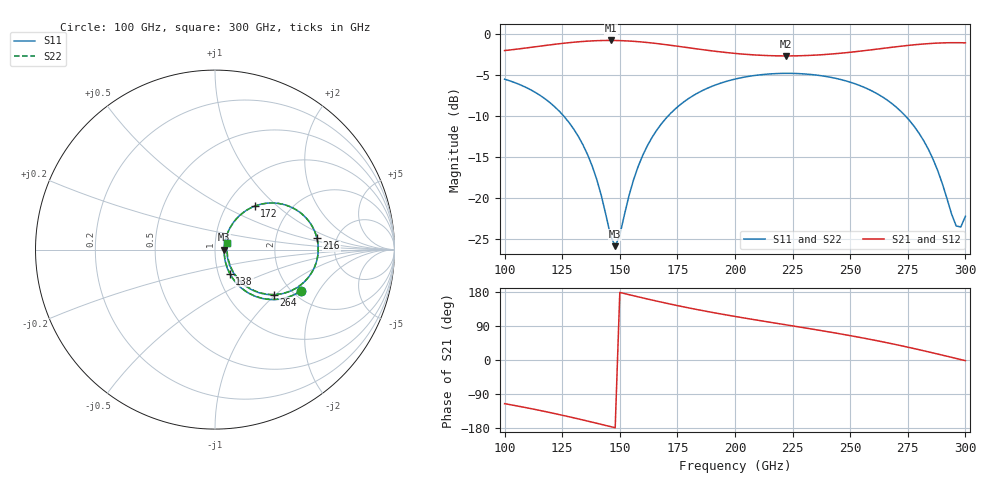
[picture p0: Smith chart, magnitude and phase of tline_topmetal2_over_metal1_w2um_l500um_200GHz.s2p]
#  GHZ S DB R 50
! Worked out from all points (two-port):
!   101 points, 100 GHz to 300 GHz, reference 50 ohm
!   highest |S21| = -0.79 dB at 146 GHz (marker M1); lowest = -2.7 dB at 222 GHz (marker M2)
!   |S21| within 3 dB of the highest: start of sweep to end of sweep
!   lowest |S11| = -25.9 dB at 148 GHz (marker M3), VSWR 1.11, Z = 55.3 - j0.0768 ohm
!   |S11| at or under -10 dB: 125.6 GHz to 171 GHz (45.43 GHz wide, 30.6 % of centre); 273.9 GHz to end of sweep
!   |S22| runs from -25.7 to -4.8 dB; largest |S21 - S12| = 1.5e-14
!   S11 on the Smith chart (normalised r, x): 100 GHz: 2.20, -1.41; 138 GHz: 1.13, -0.31; 172 GHz: 1.34, +0.73; 216 GHz: 3.53, +0.66; 264 GHz: 1.61, -0.98; 300 GHz: 1.14, +0.09
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100  -5.52 -25.8  -2.02 -115.2  -2.02 -115.2  -5.52 -25.7
120  -8.46 -46.1  -1.32 -139.1  -1.32 -139.1  -8.46 -45.9
134  -13.53 -58.0  -0.91 -158.3  -0.91 -158.3  -13.53 -57.7
138  -16.11 -58.5  -0.84 -164.0  -0.84 -164.0  -16.10 -58.1
146  -24.64 -28.9  -0.79 -175.8  -0.79 -175.8  -24.52 -28.2
148  -25.91 -0.8  -0.79 -178.8  -0.79 -178.8  -25.74 -0.6
158  -16.15 55.8  -0.93 166.6  -0.93 166.6  -16.13 55.5
168  -10.99 51.2  -1.23 152.7  -1.23 152.7  -10.98 51.1
172  -9.70 47.7  -1.37 147.5  -1.37 147.5  -9.70 47.6
184  -7.18 36.0  -1.84 132.6  -1.84 132.6  -7.17 36.0
200  -5.50 20.7  -2.37 115.0  -2.37 115.0  -5.50 20.8
216  -4.86 6.3  -2.65 98.8  -2.65 98.8  -4.86 6.4
222  -4.80 1.1  -2.67 92.9  -2.67 92.9  -4.80 1.2
234  -4.97 -9.5  -2.59 81.1  -2.59 81.1  -4.97 -9.4
250  -5.88 -24.1  -2.23 64.3  -2.23 64.3  -5.88 -23.9
264  -7.68 -37.5  -1.76 48.0  -1.76 48.0  -7.68 -37.2
268  -8.47 -41.3  -1.62 43.0  -1.62 43.0  -8.47 -41.0
276  -10.65 -48.3  -1.37 32.5  -1.37 32.5  -10.64 -47.9
284  -14.12 -52.2  -1.17 21.4  -1.17 21.4  -14.09 -51.6
296  -23.44 -12.2  -1.06 4.1  -1.06 4.1  -23.20 -11.7
298  -23.57 10.1  -1.06 1.2  -1.06 1.2  -23.31 9.9
300  -22.27 28.9  -1.08 -1.7  -1.08 -1.7  -22.07 28.3
